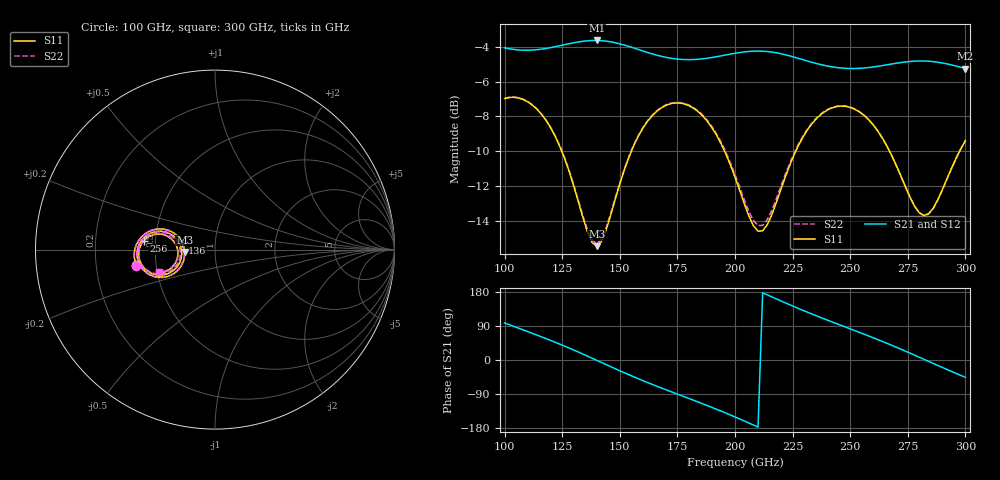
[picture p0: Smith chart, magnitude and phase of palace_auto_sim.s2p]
#  GHZ S DB R 50
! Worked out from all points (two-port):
!   101 points, 100 GHz to 300 GHz, reference 50 ohm
!   highest |S21| = -3.64 dB at 140 GHz (marker M1); lowest = -5.3 dB at 300 GHz (marker M2)
!   |S21| within 3 dB of the highest: start of sweep to end of sweep
!   lowest |S11| = -15.4 dB at 140 GHz (marker M3), VSWR 1.41, Z = 35.6 - j0.978 ohm
!   |S11| at or under -10 dB: 124.8 GHz to 155 GHz (30.24 GHz wide, 21.6 % of centre); 195.5 GHz to 226.4 GHz (30.89 GHz wide, 14.6 % of centre); 267.1 GHz to 297.5 GHz (30.42 GHz wide, 10.8 % of centre)
!   |S22| runs from -15.3 to -6.9 dB; largest |S21 - S12| = 7.3e-14
!   S11 on the Smith chart (normalised r, x): 100 GHz: 0.38, -0.08; 136 GHz: 0.69, +0.05; 256 GHz: 0.43, +0.05; 300 GHz: 0.51, -0.15
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100  -6.98 -168.6  -4.06 97.9  -4.06 97.9  -6.97 -168.4
108  -7.03 179.2  -4.20 79.6  -4.20 79.6  -7.01 179.5
118  -8.24 165.4  -4.10 56.4  -4.10 56.4  -8.21 165.8
126  -10.40 157.9  -3.89 36.7  -3.89 36.7  -10.36 158.5
134  -13.81 162.9  -3.69 15.6  -3.69 15.6  -13.72 163.4
136  -14.65 168.3  -3.66 10.1  -3.66 10.1  -14.53 168.8
140  -15.45 -175.5  -3.64 -0.9  -3.64 -0.9  -15.31 -175.3
146  -13.69 -154.5  -3.72 -17.5  -3.72 -17.5  -13.59 -154.7
154  -10.33 -150.5  -3.99 -39.0  -3.99 -39.0  -10.28 -150.6
168  -7.51 -166.0  -4.55 -73.7  -4.55 -73.7  -7.48 -165.9
184  -7.73 172.4  -4.72 -110.8  -4.72 -110.8  -7.69 172.8
200  -11.49 160.6  -4.38 -150.3  -4.38 -150.3  -11.34 161.4
208  -14.28 173.9  -4.26 -171.6  -4.26 -171.6  -13.98 174.1
212  -14.57 -172.2  -4.26 177.4  -4.26 177.4  -14.25 -172.8
224  -10.73 -152.9  -4.54 145.1  -4.54 145.1  -10.62 -154.1
234  -8.32 -160.3  -4.92 119.9  -4.92 119.9  -8.28 -161.3
244  -7.44 -172.4  -5.20 96.1  -5.20 96.1  -7.42 -173.2
256  -7.94 173.1  -5.22 68.2  -5.22 68.2  -7.93 172.4
268  -10.24 164.0  -5.00 38.9  -5.00 38.9  -10.24 163.3
282  -13.68 -176.8  -4.82 1.9  -4.82 1.9  -13.70 -177.5
290  -12.21 -159.0  -4.94 -19.7  -4.94 -19.7  -12.23 -159.6
300  -9.39 -157.5  -5.26 -45.7  -5.26 -45.7  -9.41 -158.2
